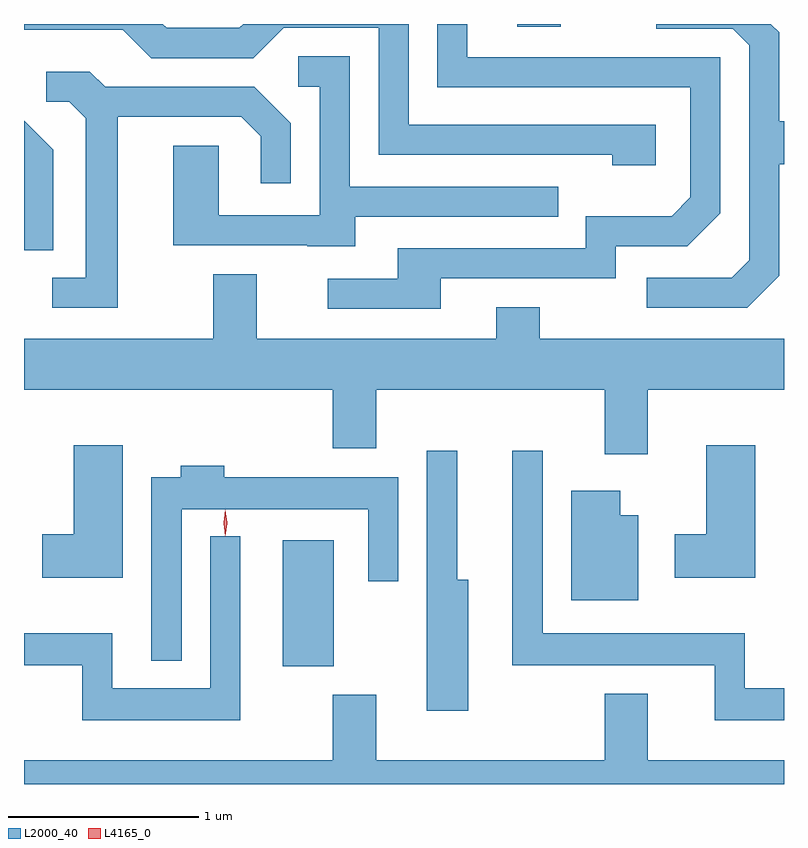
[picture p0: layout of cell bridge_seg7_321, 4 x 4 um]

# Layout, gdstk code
import gdstk
lib = gdstk.Library(unit=1e-6, precision=1e-09)
def R(c, l, rs):  # rectangles x0, y0, x1, y1
    for r in rs: c.add(gdstk.rectangle(r[:2], r[2:], *l))
def P(c, l, *ps):  # polygons
    for p in ps: c.add(gdstk.Polygon(p, *l))
L2000_40 = (2000, 40)
L4165_0 = (4165, 0)

bridge_seg7_321 = lib.new_cell('bridge_seg7_321')
R(bridge_seg7_321, L2000_40, [(1200.566,1768.361,1200.834,1769.024), (1201.801,1771.726,1202.029,1771.74)])
P(bridge_seg7_321, L2000_40, [(1202.529,1771.209),(1201.229,1771.209),(1201.229,1771.74),(1200.36,1771.74),(1200.339,1771.719),(1199.957,1771.719),(1199.936,1771.74),(1199.205,1771.74),(1199.205,1771.711),(1199.724,1771.711),(1199.874,1771.561),(1200.412,1771.561),(1200.572,1771.721),(1201.071,1771.721),(1201.071,1771.051),(1202.301,1771.051),(1202.301,1770.996),(1202.529,1770.996)],
  [(1203.179,1770.414),(1203.179,1771.001),(1203.205,1771.001),(1203.205,1771.229),(1203.179,1771.229),(1203.179,1771.697),(1203.136,1771.74),(1202.533,1771.74),(1202.533,1771.716),(1202.934,1771.716),(1203.021,1771.629),(1203.021,1770.497),(1202.929,1770.404),(1202.483,1770.404),(1202.483,1770.246),(1203.012,1770.246)],
  [(1201.399,1770.401),(1202.319,1770.401),(1202.319,1770.571),(1202.697,1770.571),(1202.869,1770.744),(1202.869,1771.564),(1201.539,1771.564),(1201.539,1771.74),(1201.381,1771.74),(1201.381,1771.406),(1202.711,1771.406),(1202.711,1770.827),(1202.614,1770.729),(1202.161,1770.729),(1202.161,1770.559),(1201.171,1770.559),(1201.171,1770.399),(1200.803,1770.399),(1200.803,1770.241),(1201.399,1770.241)],
  [(1200.949,1770.726),(1202.018,1770.726),(1202.018,1770.884),(1200.919,1770.884),(1200.919,1771.569),(1200.648,1771.569),(1200.648,1771.411),(1200.761,1771.411),(1200.761,1770.734),(1200.229,1770.734),(1200.229,1771.099),(1199.991,1771.099),(1199.991,1770.576),(1200.695,1770.576),(1200.695,1770.571),(1200.949,1770.571)],
  [(1199.699,1771.251),(1200.349,1771.251),(1200.451,1771.149),(1200.451,1770.903),(1200.609,1770.903),(1200.609,1771.217),(1200.417,1771.409),(1199.632,1771.409),(1199.552,1771.489),(1199.323,1771.489),(1199.323,1771.331),(1199.444,1771.331),(1199.531,1771.244),(1199.531,1770.404),(1199.353,1770.404),(1199.353,1770.246),(1199.699,1770.246)],
  [(1199.359,1771.077),(1199.205,1771.231),(1199.205,1770.548),(1199.359,1770.548)],
  [(1202.489,1769.816),(1203.205,1769.816),(1203.205,1770.084),(1201.919,1770.084),(1201.919,1770.249),(1201.691,1770.249),(1201.691,1770.084),(1200.429,1770.084),(1200.429,1770.424),(1200.201,1770.424),(1200.201,1770.084),(1199.205,1770.084),(1199.205,1769.816),(1200.831,1769.816),(1200.831,1769.506),(1201.059,1769.506),(1201.059,1769.816),(1202.261,1769.816),(1202.261,1769.476),(1202.489,1769.476)],
  [(1199.724,1769.524),(1199.466,1769.524),(1199.466,1769.054),(1199.301,1769.054),(1199.301,1768.826),(1199.724,1768.826)],
  [(1203.054,1769.524),(1202.796,1769.524),(1202.796,1769.054),(1202.631,1769.054),(1202.631,1768.826),(1203.054,1768.826)],
  [(1203.205,1768.244),(1202.999,1768.244),(1202.999,1768.534),(1201.934,1768.534),(1201.934,1769.493),(1201.776,1769.493),(1201.776,1768.366),(1202.841,1768.366),(1202.841,1768.076),(1203.205,1768.076)],
  [(1201.544,1768.814),(1201.484,1768.814),(1201.484,1769.493),(1201.326,1769.493),(1201.326,1768.126),(1201.544,1768.126)],
  [(1200.034,1769.186),(1201.016,1769.186),(1201.016,1768.808),(1201.174,1768.808),(1201.174,1769.354),(1200.259,1769.354),(1200.259,1769.414),(1200.031,1769.414),(1200.031,1769.354),(1199.876,1769.354),(1199.876,1768.388),(1200.034,1768.388)],
  [(1202.439,1769.154),(1202.344,1769.154),(1202.344,1769.284),(1202.086,1769.284),(1202.086,1768.706),(1202.439,1768.706)],
  [(1200.344,1769.043),(1200.186,1769.043),(1200.186,1768.244),(1199.669,1768.244),(1199.669,1768.534),(1199.205,1768.534),(1199.205,1768.366),(1199.511,1768.366),(1199.511,1768.076),(1200.344,1768.076)],
  [(1203.205,1767.864),(1202.489,1767.864),(1202.489,1768.214),(1202.261,1768.214),(1202.261,1767.864),(1201.059,1767.864),(1201.059,1768.209),(1200.831,1768.209),(1200.831,1767.864),(1199.205,1767.864),(1199.205,1767.74),(1203.205,1767.74)])
P(bridge_seg7_321, L4165_0, [(1200.264,1769.044),(1200.255,1769.113),(1200.264,1769.183),(1200.265,1769.183),(1200.265,1769.183),(1200.275,1769.113),(1200.265,1769.044),(1200.265,1769.044)],
  [(1200.265,1769.047),(1200.264,1769.048),(1200.255,1769.114),(1200.264,1769.18),(1200.265,1769.181),(1200.265,1769.18),(1200.275,1769.114),(1200.265,1769.048)])

lib.write_gds('bridge_seg7_321.gds')
